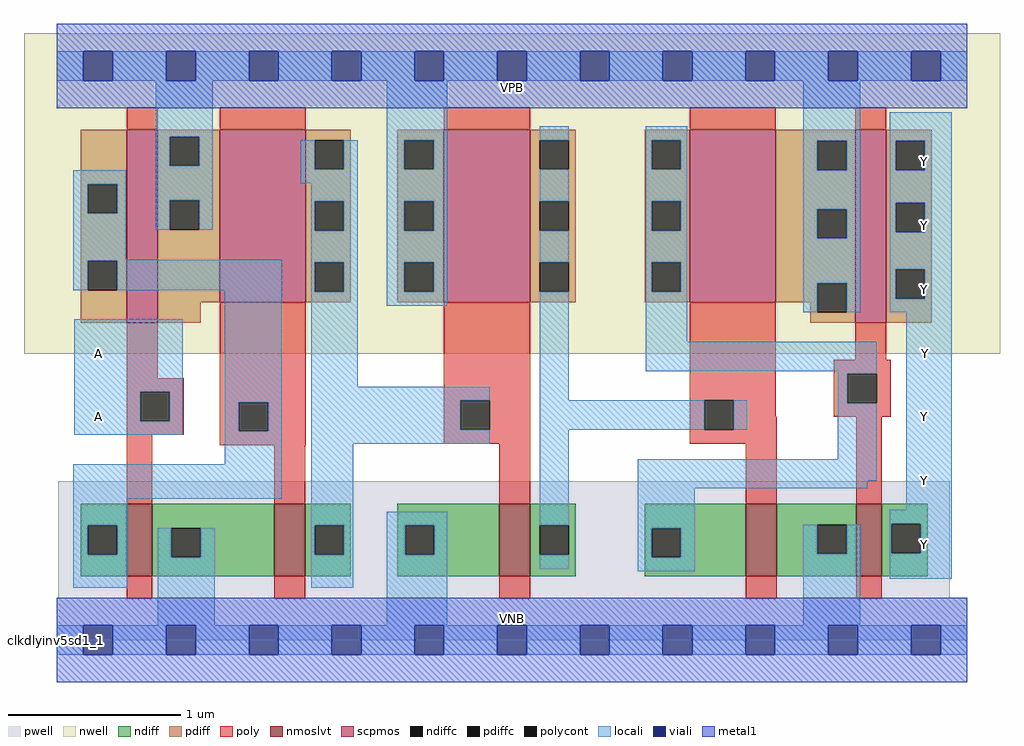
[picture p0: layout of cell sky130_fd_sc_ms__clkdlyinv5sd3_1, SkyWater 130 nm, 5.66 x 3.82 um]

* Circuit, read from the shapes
.subckt sky130_fd_sc_ms__clkdlyinv5sd3_1 A VGND VNB VPB VPWR Y
XM1 VGND A n1 VNB sky130_fd_pr__nfet_01v8_lvt w=0.42 l=0.15
XM2 n2 n1 VGND VNB sky130_fd_pr__nfet_01v8_lvt w=0.42 l=0.18
XM3 n3 n2 VGND VNB sky130_fd_pr__nfet_01v8_lvt w=0.42 l=0.18
XM4 VGND n3 n4 VNB sky130_fd_pr__nfet_01v8_lvt w=0.42 l=0.18
XM5 Y n4 VGND VNB sky130_fd_pr__nfet_01v8_lvt w=0.42 l=0.15
XM6 VPWR A n1 VPB sky130_fd_pr__pfet_01v8 w=1.12 l=0.18
XM7 n2 n1 VPWR VPB sky130_fd_pr__pfet_01v8 w=1 l=0.5
XM8 n3 n2 VPWR VPB sky130_fd_pr__pfet_01v8 w=1 l=0.5
XM9 VPWR n3 n4 VPB sky130_fd_pr__pfet_01v8 w=1 l=0.5
XM10 Y n4 VPWR VPB sky130_fd_pr__pfet_01v8 w=1.12 l=0.18
.ends

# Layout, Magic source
magic
tech sky130A
magscale 1 2
<< nwell >>
rect -38 332 1094 704
<< pwell >>
rect 2 49 1036 184
rect 0 0 1056 49
<< scpmos >>
rect 81 368 117 592
rect 189 392 289 592
rect 449 392 549 592
rect 734 392 834 592
rect 926 368 962 592
<< nmoslvt >>
rect 81 74 111 158
rect 252 74 288 158
rect 513 74 549 158
rect 799 74 835 158
rect 927 74 957 158
<< ndiff >>
rect 28 133 81 158
rect 28 99 36 133
rect 70 99 81 133
rect 28 74 81 99
rect 111 130 252 158
rect 111 96 133 130
rect 167 96 252 130
rect 111 74 252 96
rect 288 133 341 158
rect 288 99 299 133
rect 333 99 341 133
rect 288 74 341 99
rect 395 133 513 158
rect 395 99 404 133
rect 438 99 513 133
rect 395 74 513 99
rect 549 133 602 158
rect 549 99 560 133
rect 594 99 602 133
rect 549 74 602 99
rect 682 130 799 158
rect 682 96 690 130
rect 724 96 799 130
rect 682 74 799 96
rect 835 134 927 158
rect 835 100 882 134
rect 916 100 927 134
rect 835 74 927 100
rect 957 135 1010 158
rect 957 101 968 135
rect 1002 101 1010 135
rect 957 74 1010 101
<< pdiff >>
rect 28 529 81 592
rect 28 495 36 529
rect 70 495 81 529
rect 28 440 81 495
rect 28 406 36 440
rect 70 406 81 440
rect 28 368 81 406
rect 117 584 189 592
rect 117 550 131 584
rect 165 550 189 584
rect 117 510 189 550
rect 117 476 131 510
rect 165 476 189 510
rect 117 392 189 476
rect 289 580 341 592
rect 289 546 299 580
rect 333 546 341 580
rect 289 509 341 546
rect 289 475 299 509
rect 333 475 341 509
rect 289 438 341 475
rect 289 404 299 438
rect 333 404 341 438
rect 289 392 341 404
rect 395 580 449 592
rect 395 546 403 580
rect 437 546 449 580
rect 395 509 449 546
rect 395 475 403 509
rect 437 475 449 509
rect 395 438 449 475
rect 395 404 403 438
rect 437 404 449 438
rect 395 392 449 404
rect 549 580 602 592
rect 549 546 560 580
rect 594 546 602 580
rect 549 509 602 546
rect 549 475 560 509
rect 594 475 602 509
rect 549 438 602 475
rect 549 404 560 438
rect 594 404 602 438
rect 549 392 602 404
rect 682 580 734 592
rect 682 546 690 580
rect 724 546 734 580
rect 682 509 734 546
rect 682 475 690 509
rect 724 475 734 509
rect 682 438 734 475
rect 682 404 690 438
rect 724 404 734 438
rect 682 392 734 404
rect 834 579 926 592
rect 834 545 882 579
rect 916 545 926 579
rect 834 500 926 545
rect 834 466 882 500
rect 916 466 926 500
rect 834 414 926 466
rect 834 392 882 414
rect 117 368 167 392
rect 874 380 882 392
rect 916 380 926 414
rect 874 368 926 380
rect 962 579 1015 592
rect 962 545 973 579
rect 1007 545 1015 579
rect 962 507 1015 545
rect 962 473 973 507
rect 1007 473 1015 507
rect 962 430 1015 473
rect 962 396 973 430
rect 1007 396 1015 430
rect 962 368 1015 396
<< ndiffc >>
rect 36 99 70 133
rect 133 96 167 130
rect 299 99 333 133
rect 404 99 438 133
rect 560 99 594 133
rect 690 96 724 130
rect 882 100 916 134
rect 968 101 1002 135
<< pdiffc >>
rect 36 495 70 529
rect 36 406 70 440
rect 131 550 165 584
rect 131 476 165 510
rect 299 546 333 580
rect 299 475 333 509
rect 299 404 333 438
rect 403 546 437 580
rect 403 475 437 509
rect 403 404 437 438
rect 560 546 594 580
rect 560 475 594 509
rect 560 404 594 438
rect 690 546 724 580
rect 690 475 724 509
rect 690 404 724 438
rect 882 545 916 579
rect 882 466 916 500
rect 882 380 916 414
rect 973 545 1007 579
rect 973 473 1007 507
rect 973 396 1007 430
<< poly >>
rect 81 592 117 618
rect 189 592 289 618
rect 449 592 549 618
rect 734 592 834 618
rect 926 592 962 618
rect 81 304 117 368
rect 81 288 147 304
rect 81 254 97 288
rect 131 254 147 288
rect 81 238 147 254
rect 189 276 289 392
rect 189 242 211 276
rect 245 242 289 276
rect 81 158 111 238
rect 189 226 289 242
rect 449 278 549 392
rect 449 244 468 278
rect 502 244 549 278
rect 449 228 549 244
rect 734 278 834 392
rect 926 325 962 368
rect 734 244 751 278
rect 785 259 834 278
rect 901 309 967 325
rect 901 275 917 309
rect 951 275 967 309
rect 901 259 967 275
rect 785 244 835 259
rect 734 228 835 244
rect 252 158 288 226
rect 513 158 549 228
rect 799 158 835 228
rect 927 158 957 259
rect 81 48 111 74
rect 252 48 288 74
rect 513 48 549 74
rect 799 48 835 74
rect 927 48 957 74
<< polycont >>
rect 97 254 131 288
rect 211 242 245 276
rect 468 244 502 278
rect 751 244 785 278
rect 917 275 951 309
<< locali >>
rect 0 649 31 683
rect 65 649 127 683
rect 161 649 223 683
rect 257 649 319 683
rect 353 649 415 683
rect 449 649 511 683
rect 545 649 607 683
rect 641 649 703 683
rect 737 649 799 683
rect 833 649 895 683
rect 929 649 991 683
rect 1025 649 1056 683
rect 115 584 181 649
rect 115 550 131 584
rect 165 550 181 584
rect 383 580 453 649
rect 19 529 80 545
rect 19 495 36 529
rect 70 495 80 529
rect 19 441 80 495
rect 115 510 181 550
rect 283 546 299 580
rect 333 546 349 580
rect 283 530 349 546
rect 115 476 131 510
rect 165 476 181 510
rect 295 509 349 530
rect 295 475 299 509
rect 333 475 349 509
rect 19 440 261 441
rect 19 406 36 440
rect 70 406 261 440
rect 20 288 146 372
rect 20 254 97 288
rect 131 254 146 288
rect 20 238 146 254
rect 195 276 261 406
rect 195 242 211 276
rect 245 242 261 276
rect 195 204 261 242
rect 19 164 261 204
rect 295 438 349 475
rect 295 404 299 438
rect 333 404 349 438
rect 295 294 349 404
rect 383 546 403 580
rect 437 546 453 580
rect 383 509 453 546
rect 383 475 403 509
rect 437 475 453 509
rect 383 438 453 475
rect 383 404 403 438
rect 437 404 453 438
rect 383 388 453 404
rect 560 580 594 596
rect 560 509 594 546
rect 560 438 594 475
rect 295 278 502 294
rect 295 244 468 278
rect 295 228 502 244
rect 560 278 594 404
rect 683 580 731 596
rect 683 546 690 580
rect 724 546 731 580
rect 683 509 731 546
rect 683 475 690 509
rect 724 475 731 509
rect 683 438 731 475
rect 683 404 690 438
rect 724 404 731 438
rect 683 346 731 404
rect 866 579 932 649
rect 866 545 882 579
rect 916 545 932 579
rect 866 500 932 545
rect 866 466 882 500
rect 916 466 932 500
rect 866 414 932 466
rect 866 380 882 414
rect 916 380 932 414
rect 966 579 1038 612
rect 966 545 973 579
rect 1007 545 1038 579
rect 966 507 1038 545
rect 966 473 973 507
rect 1007 473 1038 507
rect 966 430 1038 473
rect 966 396 973 430
rect 1007 396 1038 430
rect 966 380 1038 396
rect 683 312 951 346
rect 906 309 951 312
rect 560 244 751 278
rect 785 244 801 278
rect 906 275 917 309
rect 19 133 82 164
rect 19 99 36 133
rect 70 99 82 133
rect 295 133 344 228
rect 19 61 82 99
rect 117 96 133 130
rect 167 96 183 130
rect 117 17 183 96
rect 295 99 299 133
rect 333 99 344 133
rect 295 61 344 99
rect 383 133 453 149
rect 383 99 404 133
rect 438 99 453 133
rect 383 17 453 99
rect 560 133 594 244
rect 906 210 951 275
rect 560 83 594 99
rect 674 185 951 210
rect 674 176 940 185
rect 674 130 740 176
rect 985 151 1038 380
rect 966 135 1038 151
rect 674 96 690 130
rect 724 96 740 130
rect 674 80 740 96
rect 866 100 882 134
rect 916 100 932 134
rect 866 17 932 100
rect 966 101 968 135
rect 1002 101 1038 135
rect 966 71 1038 101
rect 0 -17 31 17
rect 65 -17 127 17
rect 161 -17 223 17
rect 257 -17 319 17
rect 353 -17 415 17
rect 449 -17 511 17
rect 545 -17 607 17
rect 641 -17 703 17
rect 737 -17 799 17
rect 833 -17 895 17
rect 929 -17 991 17
rect 1025 -17 1056 17
<< viali >>
rect 31 649 65 683
rect 127 649 161 683
rect 223 649 257 683
rect 319 649 353 683
rect 415 649 449 683
rect 511 649 545 683
rect 607 649 641 683
rect 703 649 737 683
rect 799 649 833 683
rect 895 649 929 683
rect 991 649 1025 683
rect 31 -17 65 17
rect 127 -17 161 17
rect 223 -17 257 17
rect 319 -17 353 17
rect 415 -17 449 17
rect 511 -17 545 17
rect 607 -17 641 17
rect 703 -17 737 17
rect 799 -17 833 17
rect 895 -17 929 17
rect 991 -17 1025 17
<< metal1 >>
rect 0 683 1056 715
rect 0 649 31 683
rect 65 649 127 683
rect 161 649 223 683
rect 257 649 319 683
rect 353 649 415 683
rect 449 649 511 683
rect 545 649 607 683
rect 641 649 703 683
rect 737 649 799 683
rect 833 649 895 683
rect 929 649 991 683
rect 1025 649 1056 683
rect 0 617 1056 649
rect 0 17 1056 49
rect 0 -17 31 17
rect 65 -17 127 17
rect 161 -17 223 17
rect 257 -17 319 17
rect 353 -17 415 17
rect 449 -17 511 17
rect 545 -17 607 17
rect 641 -17 703 17
rect 737 -17 799 17
rect 833 -17 895 17
rect 929 -17 991 17
rect 1025 -17 1056 17
rect 0 -49 1056 -17
<< labels >>
rlabel comment s 0 0 0 0 4 clkdlyinv5sd1_1
flabel pwell s 0 0 1056 49 0 FreeSans 200 0 0 0 VNB
port 3 nsew ground bidirectional
flabel nwell s 0 617 1056 666 0 FreeSans 200 0 0 0 VPB
port 4 nsew power bidirectional
flabel metal1 s 0 0 1056 49 0 FreeSans 340 0 0 0 VGND
port 2 nsew ground bidirectional
flabel metal1 s 0 617 1056 666 0 FreeSans 340 0 0 0 VPWR
port 5 nsew power bidirectional
flabel locali s 31 242 65 276 0 FreeSans 340 0 0 0 A
port 1 nsew signal input
flabel locali s 31 316 65 350 0 FreeSans 340 0 0 0 A
port 1 nsew signal input
flabel locali s 991 316 1025 350 0 FreeSans 200 0 0 0 Y
port 6 nsew signal output
flabel locali s 990 464 1024 498 0 FreeSans 200 0 0 0 Y
port 6 nsew signal output
flabel locali s 990 390 1024 424 0 FreeSans 200 0 0 0 Y
port 6 nsew signal output
flabel locali s 990 168 1024 202 0 FreeSans 200 0 0 0 Y
port 6 nsew signal output
flabel locali s 990 94 1024 128 0 FreeSans 200 0 0 0 Y
port 6 nsew signal output
flabel locali s 990 242 1024 276 0 FreeSans 200 0 0 0 Y
port 6 nsew signal output
flabel locali s 990 538 1024 572 0 FreeSans 200 0 0 0 Y
port 6 nsew signal output
<< properties >>
string LEFsite unit
string LEFclass CORE
string FIXED_BBOX 0 0 1056 666
string GDS_FILE $PDKPATH/libs.ref/sky130_fd_sc_ms/gds/sky130_fd_sc_ms.gds
string LEFsymmetry X Y
string GDS_END 3400714
string GDS_START 3392854
<< end >>
